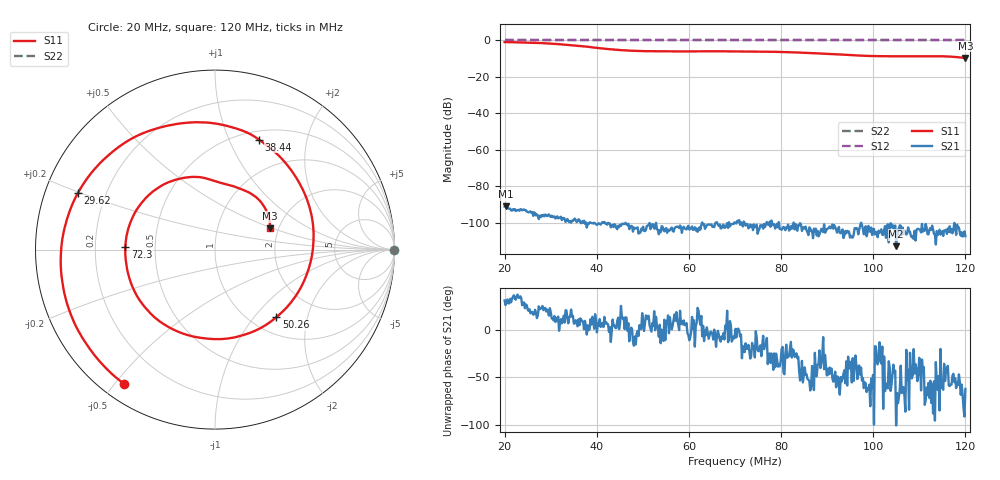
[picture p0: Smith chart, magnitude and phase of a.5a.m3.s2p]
! Anritsu VNA Master:  Model: MS2036C/10/77
! SN:  1601066
! /bd0/18may8/255.ew.m3.s2p
! Existing Calibration Information:
! TYPE:  Current Settings,  Active Cal Settings
! TIME:  05/08/2018 10:06:28 AM,  05/08/2018 09:57:41 AM
! INTERNAL TEMP:  47.0 C,  46.8 C
! # POINTS:  500,  500
! START FREQ:  20.000 MHz,  20.000 MHz
! STOP FREQ:  120.000 MHz,  120.000 MHz
! SOURCE POWER:  High,  High
! IFBW:  50 Hz,  50 Hz
! AVG FACTOR:  1 ,  1
! REF PLANE 1:  0 mm,  0 mm
! REF PLANE 2:  0 mm,  0 mm
! CAL TYPE:  Full S11,  Full S11
! CAL METHOD:  SOLT,  SOLT
! CAL LINE TYPE:  Coax,  Coax
! DUT PORT 1:  K-Conn(F),  K-Conn(F)
! DUT PORT 2:  K-Conn(F),  K-Conn(F)
! CAL STATUS:  OK: Accuracy High,  --
# GHZ S DB R 50.0
! FREQ.GHZ  S11DB  S11A  S21DB  S21A  S12DB  S12A  S22DB  S22A
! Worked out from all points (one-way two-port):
!   500 points, 20 MHz to 120 MHz, reference 50 ohm
!   highest |S21| = -91.07 dB at 20.2 MHz (marker M1); lowest = -112.8 dB at 105 MHz (marker M2)
!   lowest |S11| = -9.7 dB at 120 MHz (marker M3), VSWR 1.98, Z = 90 + j23.9 ohm
!   |S11| at or under -10 dB: nowhere
!   |S22| runs from 0.0 to 0.0 dB; largest |S21 - S12| = 1
!   S11 on the Smith chart (normalised r, x): 20 MHz: 0.07, -0.53; 29.62 MHz: 0.10, +0.20; 38.44 MHz: 0.60, +1.30; 50.26 MHz: 1.29, -1.31; 72.3 MHz: 0.33, +0.01; 120 MHz: 1.80, +0.48
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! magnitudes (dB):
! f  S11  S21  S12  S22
! 20 MHz  -0.9  -91.1  0.0  0.0
! 20.2 MHz  -0.9  -91.1  0.0  0.0
! 25.21 MHz  -1.2  -94.3  0.0  0.0
! 29.62 MHz  -1.7  -95.4  0.0  0.0
! 32.83 MHz  -2.2  -97.4  0.0  0.0
! 36.83 MHz  -3.2  -99.2  0.0  0.0
! 38.44 MHz  -3.6  -99.8  0.0  0.0
! 41.44 MHz  -4.5  -100.0  0.0  0.0
! 44.65 MHz  -5.2  -101.7  0.0  0.0
! 47.05 MHz  -5.6  -103.6  0.0  0.0
! 50.26 MHz  -5.9  -104.5  0.0  0.0
! 53.47 MHz  -6.0  -106.3  0.0  0.0
! 70.1 MHz  -6.0  -100.0  0.0  0.0
! 72.3 MHz  -6.0  -101.5  0.0  0.0
! 79.12 MHz  -6.3  -100.5  0.0  0.0
! 86.73 MHz  -6.9  -104.4  0.0  0.0
! 97.96 MHz  -8.4  -106.3  0.0  0.0
! 103.4 MHz  -8.7  -110.8  0.0  0.0
! 105 MHz  -8.7  -112.8  0.0  0.0
! 114.6 MHz  -8.7  -106.5  0.0  0.0
! 117.4 MHz  -9.0  -104.0  0.0  0.0
! 120 MHz  -9.7  -107.4  0.0  0.0
